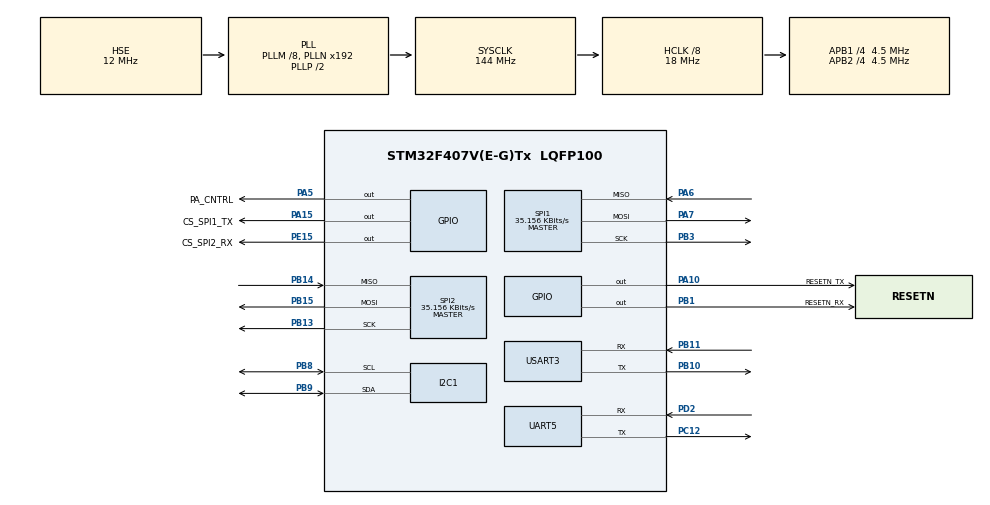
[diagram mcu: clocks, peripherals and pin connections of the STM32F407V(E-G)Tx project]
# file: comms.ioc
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Mcu.Family=STM32F4
Mcu.Name=STM32F407V(E-G)Tx
Mcu.Package=LQFP100
NVIC.PriorityGroup=NVIC_PRIORITYGROUP_4
PA10.GPIO_Label=RESETN_TX
PA10.PinState=GPIO_PIN_SET
PA10.Signal=GPIO_Output
PA15.GPIO_Label=CS_SPI1_TX
PA15.PinState=GPIO_PIN_SET
PA15.Signal=GPIO_Output
PA5.GPIO_Label=PA_CNTRL
PA5.Signal=GPIO_Output
PA6.GPIO_Speed=GPIO_SPEED_FREQ_LOW
PA6.Mode=Full_Duplex_Master
PA6.Signal=SPI1_MISO
PA7.GPIO_Speed=GPIO_SPEED_FREQ_LOW
PA7.Mode=Full_Duplex_Master
PA7.Signal=SPI1_MOSI
PB1.GPIO_Label=RESETN_RX
PB1.PinState=GPIO_PIN_SET
PB1.Signal=GPIO_Output
PB10.Mode=Asynchronous
PB10.Signal=USART3_TX
PB11.Mode=Asynchronous
PB11.Signal=USART3_RX
PB13.GPIO_Speed=GPIO_SPEED_FREQ_LOW
PB13.Mode=Full_Duplex_Master
PB13.Signal=SPI2_SCK
PB14.GPIO_Speed=GPIO_SPEED_FREQ_LOW
PB14.Mode=Full_Duplex_Master
PB14.Signal=SPI2_MISO
PB15.GPIO_Speed=GPIO_SPEED_FREQ_LOW
PB15.Mode=Full_Duplex_Master
PB15.Signal=SPI2_MOSI
PB3.GPIO_Speed=GPIO_SPEED_FREQ_LOW
PB3.Mode=Full_Duplex_Master
PB3.Signal=SPI1_SCK
PB8.Mode=I2C
PB8.Signal=I2C1_SCL
PB9.Mode=I2C
PB9.Signal=I2C1_SDA
PC12.Mode=Asynchronous
PC12.Signal=UART5_TX
PD2.Mode=Asynchronous
PD2.Signal=UART5_RX
PE15.GPIO_Label=CS_SPI2_RX
PE15.PinState=GPIO_PIN_SET
PE15.Signal=GPIO_Output
PH0-OSC_IN.Mode=HSE-External-Oscillator
PH0-OSC_IN.Signal=RCC_OSC_IN
PH1-OSC_OUT.Mode=HSE-External-Oscillator
PH1-OSC_OUT.Signal=RCC_OSC_OUT
ProjectManager.HeapSize=0x200
ProjectManager.StackSize=0x400
ProjectManager.TargetToolchain=EWARM
RCC.48MHZClocksFreq_Value=72000000
RCC.AHBCLKDivider=RCC_SYSCLK_DIV8
RCC.AHBFreq_Value=18000000
RCC.APB1CLKDivider=RCC_HCLK_DIV4
RCC.APB1Freq_Value=4500000
RCC.APB1TimFreq_Value=9000000
RCC.APB2CLKDivider=RCC_HCLK_DIV4
RCC.APB2Freq_Value=4500000
RCC.APB2TimFreq_Value=9000000
RCC.CortexFreq_Value=18000000
RCC.HCLKFreq_Value=18000000
RCC.HSE_VALUE=12000000
RCC.HSI_VALUE=16000000
RCC.LSE_VALUE=32768
RCC.PLLM=8
RCC.PLLSourceVirtual=RCC_PLLSOURCE_HSE
RCC.SYSCLKFreq_VALUE=144000000
RCC.SYSCLKSource=RCC_SYSCLKSOURCE_PLLCLK
RCC.VCOOutputFreq_Value=288000000
SPI1.BaudRatePrescaler=SPI_BAUDRATEPRESCALER_128
SPI1.CalculateBaudRate=35.156 KBits/s
SPI1.Mode=SPI_MODE_MASTER
SPI2.BaudRatePrescaler=SPI_BAUDRATEPRESCALER_128
SPI2.CalculateBaudRate=35.156 KBits/s
SPI2.Mode=SPI_MODE_MASTER
board=comms

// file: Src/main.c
/**
  ******************************************************************************
  * File Name          : main.c
  * Description        : Main program body
  ******************************************************************************
  *
  * COPYRIGHT(c) 2016 STMicroelectronics
  *
  * Redistribution and use in source and binary forms, with or without modification,
  * are permitted provided that the following conditions are met:
  *   1. Redistributions of source code must retain the above copyright notice,
  *      this list of conditions and the following disclaimer.
  *   2. Redistributions in binary form must reproduce the above copyright notice,
  *      this list of conditions and the following disclaimer in the documentation
  *      and/or other materials provided with the distribution.
  *   3. Neither the name of STMicroelectronics nor the names of its contributors
  *      may be used to endorse or promote products derived from this software
  *      without specific prior written permission.
  *
  * THIS SOFTWARE IS PROVIDED BY THE COPYRIGHT HOLDERS AND CONTRIBUTORS "AS IS"
  * AND ANY EXPRESS OR IMPLIED WARRANTIES, INCLUDING, BUT NOT LIMITED TO, THE
  * IMPLIED WARRANTIES OF MERCHANTABILITY AND FITNESS FOR A PARTICULAR PURPOSE ARE
  * DISCLAIMED. IN NO EVENT SHALL THE COPYRIGHT HOLDER OR CONTRIBUTORS BE LIABLE
  * FOR ANY DIRECT, INDIRECT, INCIDENTAL, SPECIAL, EXEMPLARY, OR CONSEQUENTIAL
  * DAMAGES (INCLUDING, BUT NOT LIMITED TO, PROCUREMENT OF SUBSTITUTE GOODS OR
  * SERVICES; LOSS OF USE, DATA, OR PROFITS; OR BUSINESS INTERRUPTION) HOWEVER
  * CAUSED AND ON ANY THEORY OF LIABILITY, WHETHER IN CONTRACT, STRICT LIABILITY,
  * OR TORT (INCLUDING NEGLIGENCE OR OTHERWISE) ARISING IN ANY WAY OUT OF THE USE
  * OF THIS SOFTWARE, EVEN IF ADVISED OF THE POSSIBILITY OF SUCH DAMAGE.
  *
  ******************************************************************************
  */
#include "stm32f4xx_hal.h"

/* USER CODE BEGIN Includes */
#include "../../../cc1120/cc_commands.h"
#include "../../../cc1120/cc_definitions.h"
#include "../../../cc1120/cc_Tx_init.h"
/* USER CODE END Includes */

I2C_HandleTypeDef hi2c1;

SPI_HandleTypeDef hspi1;
SPI_HandleTypeDef hspi2;

UART_HandleTypeDef huart5;
UART_HandleTypeDef huart3;

/* USER CODE BEGIN PV */
/* Private variables ---------------------------------------------------------*/
uint8_t aTxBuffer[500];
uint8_t aRxBuffer[500];

/* USER CODE END PV */

void SystemClock_Config(void);
static void MX_GPIO_Init(void);
static void MX_I2C1_Init(void);
static void MX_SPI1_Init(void);
static void MX_SPI2_Init(void);
static void MX_UART5_Init(void);
static void MX_USART3_UART_Init(void);

/* USER CODE BEGIN PFP */
/* Private function prototypes -----------------------------------------------*/
static uint8_t SPI2WriteSingledata(uint8_t swAdrr, uint8_t swData);
static uint8_t SPI2CommandStrobe(uint8_t CMDStrobe);
static void manualCalibration(void);
static uint8_t SPI2ReadExtended(uint8_t srExtndAdrr, uint8_t srData);

static uint8_t SPI1WriteSingledata(uint8_t swAdrr, uint8_t swData);
static uint8_t SPI1ReadSingle(uint8_t srAdrr);
static uint8_t SPI1ReadExtended(uint8_t srExtndAdrr, uint8_t srData);
static uint8_t SPI1CommandStrobe(uint8_t CMDStrobe);

static uint8_t SPI1WriteManydata(uint8_t *data, uint8_t size);

extern void cc_Tx_INIT();
/* USER CODE END PFP */

int main(void)
{

  /* MCU Configuration----------------------------------------------------------*/

  /* Reset of all peripherals, Initializes the Flash interface and the Systick. */
  HAL_Init();

  /* Configure the system clock */
  SystemClock_Config();

  /* Initialize all configured peripherals */
  MX_GPIO_Init();
  MX_I2C1_Init();
  MX_SPI1_Init();
  MX_SPI2_Init();
  MX_UART5_Init();
  MX_USART3_UART_Init();

  /* USER CODE BEGIN 2 */
  HAL_GPIO_WritePin(GPIOA, RESETN_TX_Pin, GPIO_PIN_SET);
  HAL_GPIO_WritePin(PA_CNTRL_GPIO_Port, PA_CNTRL_Pin, GPIO_PIN_SET);
  HAL_GPIO_WritePin(GPIOA,GPIO_PIN_15,GPIO_PIN_SET);

  SPI1ReadExtended(0x8F, 0x00);

  cc_Tx_INIT();

  HAL_Delay(100);

  manualCalibration();

  HAL_Delay(100);

  //SPI1WriteSingledata(0x7F, 0x48); //should expext 112 bytes (110 and 2) needs buffer

  aTxBuffer[0] = 0x7E;

  aTxBuffer[1] = 0x82;
  aTxBuffer[2] = 0x84;
  aTxBuffer[3] = 0x86;
  aTxBuffer[4] = 0x88;
  aTxBuffer[5] = 0x40;
  aTxBuffer[6] = 0x40;
  aTxBuffer[7] = 0x60;
  aTxBuffer[8] = 0x82;
  aTxBuffer[9] = 0x84;
  aTxBuffer[10] = 0x86;
  aTxBuffer[11] = 0x88;
  aTxBuffer[12] = 0x40;
  aTxBuffer[13] = 0x40;
  aTxBuffer[14] = 0x61;
  aTxBuffer[15] = 0x03;
  aTxBuffer[16] = 0xf0;
  aTxBuffer[17] = 0x48;
  aTxBuffer[18] = 0x45;
  aTxBuffer[19] = 0x4c;
  aTxBuffer[20] = 0x4c;
  aTxBuffer[21] = 0x4f;
  aTxBuffer[22] = 0x20;
  aTxBuffer[23] = 0x57;
  aTxBuffer[24] = 0x4f;
  aTxBuffer[25] = 0x52;
  aTxBuffer[26] = 0x4c;
  aTxBuffer[27] = 0x44;
  aTxBuffer[28] = 0x20;
  aTxBuffer[29] = 0x46;
  aTxBuffer[30] = 0x52;
  aTxBuffer[31] = 0x4f;
  aTxBuffer[32] = 0x4d;
  aTxBuffer[33] = 0x20;
  aTxBuffer[34] = 0x53;
  aTxBuffer[35] = 0x50;
  aTxBuffer[36] = 0x41;
  aTxBuffer[37] = 0x43;
  aTxBuffer[38] = 0x45;

  //for(uint8_t i = 1; i < 120; i++) { aTxBuffer[i] = 0x48; }
  SPI1WriteManydata(aTxBuffer, 39);

  SPI1CommandStrobe(STX);   	   //transmit command

  SPI1CommandStrobe(SRES);         //reset devise. After reset device should be in IDLE

  SPI1CommandStrobe(SFTX);	   //flash Tx fifo. SFTX when in IDLE

  /* USER CODE END 2 */

  /* Infinite loop */
  while (1)
  {

  /* USER CODE BEGIN 3 */
     cc_Tx_INIT();

  HAL_Delay(100);

  manualCalibration();

  HAL_Delay(100);

  aTxBuffer[0] = 0x7E;

  aTxBuffer[1] = 0x82;
  aTxBuffer[2] = 0x84;
  aTxBuffer[3] = 0x86;
  aTxBuffer[4] = 0x88;
  aTxBuffer[5] = 0x40;
  aTxBuffer[6] = 0x40;
  aTxBuffer[7] = 0x60;
  aTxBuffer[8] = 0x82;
  aTxBuffer[9] = 0x84;
  aTxBuffer[10] = 0x86;
  aTxBuffer[11] = 0x88;
  aTxBuffer[12] = 0x40;
  aTxBuffer[13] = 0x40;
  aTxBuffer[14] = 0x61;
  aTxBuffer[15] = 0x03;
  aTxBuffer[16] = 0xf0;
  aTxBuffer[17] = 0x48;
  aTxBuffer[18] = 0x45;
  aTxBuffer[19] = 0x4c;
  aTxBuffer[20] = 0x4c;
  aTxBuffer[21] = 0x4f;
  aTxBuffer[22] = 0x20;
  aTxBuffer[23] = 0x57;
  aTxBuffer[24] = 0x4f;
  aTxBuffer[25] = 0x52;
  aTxBuffer[26] = 0x4c;
  aTxBuffer[27] = 0x44;
  aTxBuffer[28] = 0x20;
  aTxBuffer[29] = 0x46;
  aTxBuffer[30] = 0x52;
  aTxBuffer[31] = 0x4f;
  aTxBuffer[32] = 0x4d;
  aTxBuffer[33] = 0x20;
  aTxBuffer[34] = 0x53;
  aTxBuffer[35] = 0x50;
  aTxBuffer[36] = 0x41;
  aTxBuffer[37] = 0x43;
  aTxBuffer[38] = 0x45;

      SPI1WriteManydata(aTxBuffer, 39);

      SPI1CommandStrobe(STX);   	   //transmit command

      SPI1CommandStrobe(SRES);         //reset devise. After reset device should be in IDLE

      SPI1CommandStrobe(SFTX);	   //flash Tx fifo. SFTX when in IDLE

      HAL_Delay(5000);
  }
  /* USER CODE END 3 */

}

/** System Clock Configuration
*/
void SystemClock_Config(void)
{

  RCC_OscInitTypeDef RCC_OscInitStruct;
  RCC_ClkInitTypeDef RCC_ClkInitStruct;

  __HAL_RCC_PWR_CLK_ENABLE();

  __HAL_PWR_VOLTAGESCALING_CONFIG(PWR_REGULATOR_VOLTAGE_SCALE1);

  RCC_OscInitStruct.OscillatorType = RCC_OSCILLATORTYPE_HSE;
  RCC_OscInitStruct.HSEState = RCC_HSE_ON;
  RCC_OscInitStruct.PLL.PLLState = RCC_PLL_ON;
  RCC_OscInitStruct.PLL.PLLSource = RCC_PLLSOURCE_HSE;
  RCC_OscInitStruct.PLL.PLLM = 8;
  RCC_OscInitStruct.PLL.PLLN = 192;
  RCC_OscInitStruct.PLL.PLLP = RCC_PLLP_DIV2;
  RCC_OscInitStruct.PLL.PLLQ = 4;
  HAL_RCC_OscConfig(&RCC_OscInitStruct);

  RCC_ClkInitStruct.ClockType = RCC_CLOCKTYPE_HCLK|RCC_CLOCKTYPE_SYSCLK
                              |RCC_CLOCKTYPE_PCLK1|RCC_CLOCKTYPE_PCLK2;
  RCC_ClkInitStruct.SYSCLKSource = RCC_SYSCLKSOURCE_PLLCLK;
  RCC_ClkInitStruct.AHBCLKDivider = RCC_SYSCLK_DIV8;
  RCC_ClkInitStruct.APB1CLKDivider = RCC_HCLK_DIV4;
  RCC_ClkInitStruct.APB2CLKDivider = RCC_HCLK_DIV4;
  HAL_RCC_ClockConfig(&RCC_ClkInitStruct, FLASH_LATENCY_0);

  HAL_SYSTICK_Config(HAL_RCC_GetHCLKFreq()/1000);

  HAL_SYSTICK_CLKSourceConfig(SYSTICK_CLKSOURCE_HCLK);

  /* SysTick_IRQn interrupt configuration */
  HAL_NVIC_SetPriority(SysTick_IRQn, 0, 0);
}

/* I2C1 init function */
void MX_I2C1_Init(void)
{

  hi2c1.Instance = I2C1;
  hi2c1.Init.ClockSpeed = 100000;
  hi2c1.Init.DutyCycle = I2C_DUTYCYCLE_2;
  hi2c1.Init.OwnAddress1 = 0;
  hi2c1.Init.AddressingMode = I2C_ADDRESSINGMODE_7BIT;
  hi2c1.Init.DualAddressMode = I2C_DUALADDRESS_DISABLE;
  hi2c1.Init.OwnAddress2 = 0;
  hi2c1.Init.GeneralCallMode = I2C_GENERALCALL_DISABLE;
  hi2c1.Init.NoStretchMode = I2C_NOSTRETCH_DISABLE;
  HAL_I2C_Init(&hi2c1);

}

/* SPI1 init function */
void MX_SPI1_Init(void)
{

  hspi1.Instance = SPI1;
  hspi1.Init.Mode = SPI_MODE_MASTER;
  hspi1.Init.Direction = SPI_DIRECTION_2LINES;
  hspi1.Init.DataSize = SPI_DATASIZE_8BIT;
  hspi1.Init.CLKPolarity = SPI_POLARITY_LOW;
  hspi1.Init.CLKPhase = SPI_PHASE_1EDGE;
  hspi1.Init.NSS = SPI_NSS_SOFT;
  hspi1.Init.BaudRatePrescaler = SPI_BAUDRATEPRESCALER_128;
  hspi1.Init.FirstBit = SPI_FIRSTBIT_MSB;
  hspi1.Init.TIMode = SPI_TIMODE_DISABLE;
  hspi1.Init.CRCCalculation = SPI_CRCCALCULATION_DISABLE;
  hspi1.Init.CRCPolynomial = 10;
  HAL_SPI_Init(&hspi1);

}

/* SPI2 init function */
void MX_SPI2_Init(void)
{

  hspi2.Instance = SPI2;
  hspi2.Init.Mode = SPI_MODE_MASTER;
  hspi2.Init.Direction = SPI_DIRECTION_2LINES;
  hspi2.Init.DataSize = SPI_DATASIZE_8BIT;
  hspi2.Init.CLKPolarity = SPI_POLARITY_LOW;
  hspi2.Init.CLKPhase = SPI_PHASE_1EDGE;
  hspi2.Init.NSS = SPI_NSS_SOFT;
  hspi2.Init.BaudRatePrescaler = SPI_BAUDRATEPRESCALER_128;
  hspi2.Init.FirstBit = SPI_FIRSTBIT_MSB;
  hspi2.Init.TIMode = SPI_TIMODE_DISABLE;
  hspi2.Init.CRCCalculation = SPI_CRCCALCULATION_DISABLE;
  hspi2.Init.CRCPolynomial = 10;
  HAL_SPI_Init(&hspi2);

}

/* UART5 init function */
void MX_UART5_Init(void)
{

  huart5.Instance = UART5;
  huart5.Init.BaudRate = 115200;
  huart5.Init.WordLength = UART_WORDLENGTH_8B;
  huart5.Init.StopBits = UART_STOPBITS_1;
  huart5.Init.Parity = UART_PARITY_NONE;
  huart5.Init.Mode = UART_MODE_TX_RX;
  huart5.Init.HwFlowCtl = UART_HWCONTROL_NONE;
  huart5.Init.OverSampling = UART_OVERSAMPLING_16;
  HAL_UART_Init(&huart5);

}

/* USART3 init function */
void MX_USART3_UART_Init(void)
{

  huart3.Instance = USART3;
  huart3.Init.BaudRate = 115200;
  huart3.Init.WordLength = UART_WORDLENGTH_8B;
  huart3.Init.StopBits = UART_STOPBITS_1;
  huart3.Init.Parity = UART_PARITY_NONE;
  huart3.Init.Mode = UART_MODE_TX_RX;
  huart3.Init.HwFlowCtl = UART_HWCONTROL_NONE;
  huart3.Init.OverSampling = UART_OVERSAMPLING_16;
  HAL_UART_Init(&huart3);

}

/** Configure pins as
        * Analog
        * Input
        * Output
        * EVENT_OUT
        * EXTI
*/
void MX_GPIO_Init(void)
{

  GPIO_InitTypeDef GPIO_InitStruct;

  /* GPIO Ports Clock Enable */
  __HAL_RCC_GPIOH_CLK_ENABLE();
  __HAL_RCC_GPIOA_CLK_ENABLE();
  __HAL_RCC_GPIOB_CLK_ENABLE();
  __HAL_RCC_GPIOE_CLK_ENABLE();
  __HAL_RCC_GPIOC_CLK_ENABLE();
  __HAL_RCC_GPIOD_CLK_ENABLE();

  /*Configure GPIO pin Output Level */
  HAL_GPIO_WritePin(PA_CNTRL_GPIO_Port, PA_CNTRL_Pin, GPIO_PIN_RESET);

  /*Configure GPIO pin Output Level */
  HAL_GPIO_WritePin(RESETN_RX_GPIO_Port, RESETN_RX_Pin, GPIO_PIN_SET);

  /*Configure GPIO pin Output Level */
  HAL_GPIO_WritePin(CS_SPI2_RX_GPIO_Port, CS_SPI2_RX_Pin, GPIO_PIN_SET);

  /*Configure GPIO pin Output Level */
  HAL_GPIO_WritePin(GPIOA, RESETN_TX_Pin|CS_SPI1_TX_Pin, GPIO_PIN_SET);

  /*Configure GPIO pins : PA_CNTRL_Pin RESETN_TX_Pin CS_SPI1_TX_Pin */
  GPIO_InitStruct.Pin = PA_CNTRL_Pin|RESETN_TX_Pin|CS_SPI1_TX_Pin;
  GPIO_InitStruct.Mode = GPIO_MODE_OUTPUT_PP;
  GPIO_InitStruct.Pull = GPIO_NOPULL;
  GPIO_InitStruct.Speed = GPIO_SPEED_FREQ_LOW;
  HAL_GPIO_Init(GPIOA, &GPIO_InitStruct);

  /*Configure GPIO pin : RESETN_RX_Pin */
  GPIO_InitStruct.Pin = RESETN_RX_Pin;
  GPIO_InitStruct.Mode = GPIO_MODE_OUTPUT_PP;
  GPIO_InitStruct.Pull = GPIO_NOPULL;
  GPIO_InitStruct.Speed = GPIO_SPEED_FREQ_LOW;
  HAL_GPIO_Init(RESETN_RX_GPIO_Port, &GPIO_InitStruct);

  /*Configure GPIO pin : CS_SPI2_RX_Pin */
  GPIO_InitStruct.Pin = CS_SPI2_RX_Pin;
  GPIO_InitStruct.Mode = GPIO_MODE_OUTPUT_PP;
  GPIO_InitStruct.Pull = GPIO_NOPULL;
  GPIO_InitStruct.Speed = GPIO_SPEED_FREQ_LOW;
  HAL_GPIO_Init(CS_SPI2_RX_GPIO_Port, &GPIO_InitStruct);

}

/* USER CODE BEGIN 4 */
static void manualCalibration(void) {

uint8_t orgnlfscal2;

uint8_t Resultsvcdac_strtH0=0X00;
uint8_t Resultsvcdac_strtH1=0X00;
uint8_t Resultsvcdac_strtH2=0X00;

uint8_t Resultsvcdac_strtM0=0X00;
uint8_t Resultsvcdac_strtM1=0X00;
uint8_t Resultsvcdac_strtM2=0X00;

uint8_t writeByte3;

/*1) Set VCO cap-array to 0 (FS_VCO2 = 0x00)*/
writeByte3 = 0x00;

halRfWriteReg(FS_VCO2,writeByte3);

/*
2) Start with high VCDAC (original VCDAC_START + 2): IT IS A READ OP*/

orgnlfscal2 = SPI1ReadExtended((uint8_t)(0x00FF & FS_CAL2), 0x00);

writeByte3 = orgnlfscal2 + 0x02;

halRfWriteReg(FS_CAL2,writeByte3);

/*3) Calibrate and wait for calibration to be done
	         (radio back in IDLE state)*/

SPI1CommandStrobe(SCAL);
//delay10ms(1);
HAL_Delay(1);
/*do {
	marcstate=SPI2ReadExtended(CC112X_MARCSTATE, 0x00);

} while (marcstate != 0x41);*/

/* 4) Read FS_VCO2, FS_VCO4 and FS_CHP register obtained with
  	   	   	   	   high VCDAC_START value
*/

Resultsvcdac_strtH0=	SPI1ReadExtended((uint8_t)(0x00FF & FS_CAL2), 0x00);
Resultsvcdac_strtH1=	SPI1ReadExtended((uint8_t)(0x00FF & FS_VCO4), 0x00);
Resultsvcdac_strtH2=	SPI1ReadExtended((uint8_t)(0x00FF & FS_CHP), 0x00);
/* 5) Set VCO cap-array to 0 (FS_VCO2 = 0x00)*/

writeByte3 = 0x00;

halRfWriteReg(FS_VCO2,writeByte3);

/*6) Set VCO cap-array to 0 (FS_VCO2 = 0x00)*/

writeByte3 = orgnlfscal2;

halRfWriteReg(FS_CAL2,writeByte3);

/*  7) Calibrate and wait for calibration to be done
(radio back in IDLE state)*/

SPI1CommandStrobe(SCAL);
//delay10ms(1);
HAL_Delay(1);
/*do {
	marcstate=SPI2ReadExtended(CC112X_MARCSTATE, 0x00);

} while (marcstate != 0x41);*/

/*8) Read FS_VCO2, FS_VCO4 and FS_CHP register obtained
       with mid VCDAC_START value*/

Resultsvcdac_strtM0=	SPI1ReadExtended((uint8_t)(0x00FF & FS_CAL2), 0x00);
Resultsvcdac_strtM1=	SPI1ReadExtended((uint8_t)(0x00FF & FS_VCO4), 0x00);
Resultsvcdac_strtM2=	SPI1ReadExtended((uint8_t)(0x00FF & FS_CHP), 0x00);

/*9) Write back highest FS_VCO2 and corresponding FS_VCO
and FS_CHP result*/

if (Resultsvcdac_strtH0 >
Resultsvcdac_strtM0) {

	writeByte3 = Resultsvcdac_strtH0;
    halRfWriteReg(FS_VCO2,writeByte3);
    writeByte3 = Resultsvcdac_strtH1;
    halRfWriteReg(FS_VCO4,writeByte3);
    writeByte3 = Resultsvcdac_strtH2;
    halRfWriteReg(FS_CHP,writeByte3);
} else {
	writeByte3 = Resultsvcdac_strtM0;
	halRfWriteReg(FS_VCO2,writeByte3);
	writeByte3 = Resultsvcdac_strtM1;
	halRfWriteReg(FS_VCO4,writeByte3);
	writeByte3 = Resultsvcdac_strtM2;
	halRfWriteReg(FS_CHP,writeByte3);
}

}

static uint8_t SPI1CommandStrobe(uint8_t CMDStrobe)
{

//uint8_t aTxBuffer[1];
//uint8_t aRxBuffer[1];

aTxBuffer[0]= CMDStrobe;    		//		extended address
//      send dummy so that i can read data
aTxBuffer[1]=0x00;
aTxBuffer[2]=0x00;
aTxBuffer[3]=0x00;

aRxBuffer[0]=0x00;
aRxBuffer[1]=0x00;
aRxBuffer[2]=0x00;
aRxBuffer[3]=0x00;      //      one more for slot for contingency

//      one more for slot for contingency

HAL_GPIO_WritePin(GPIOA,GPIO_PIN_15,GPIO_PIN_RESET);  	//chip select LOw
//delay10ms (15);
HAL_Delay(1);
HAL_SPI_TransmitReceive(&hspi1, (uint8_t*)aTxBuffer, (uint8_t *)aRxBuffer, 1, 5000); //send and receive 1 bytes
//delay10ms (15);
HAL_GPIO_WritePin(GPIOA,GPIO_PIN_15,GPIO_PIN_SET);

//delay10ms (50);

return aRxBuffer[0];   //if need be please change this part to return the whole buffer

}

static uint8_t SPI1ReadExtended(uint8_t srExtndAdrr, uint8_t srData)
{

	//uint8_t aTxBuffer[3];
	//uint8_t aRxBuffer[4];

aTxBuffer[0]=0xaf;
aTxBuffer[1]=srExtndAdrr;    		//		extended address
aTxBuffer[2]=srData;         //      send dummy so that i can read data

aRxBuffer[0]=0x00;
aRxBuffer[1]=0x00;
aRxBuffer[2]=0x00;
aRxBuffer[3]=0x00;      //      one more for slot for contingency

HAL_GPIO_WritePin(GPIOA,GPIO_PIN_15,GPIO_PIN_RESET);  	//chip select LOw
//delay10ms (1);
HAL_Delay(1);
HAL_SPI_TransmitReceive(&hspi1, (uint8_t*)aTxBuffer, (uint8_t *)aRxBuffer, 3, 10); //send and receive 3 bytes
//delay10ms (1);
HAL_GPIO_WritePin(GPIOA,GPIO_PIN_15,GPIO_PIN_SET);

return aRxBuffer[2];  //if need be please change this part to return the whole buffer

}

static uint8_t SPI1ReadSingle(uint8_t srAdrr)
{
srAdrr= srAdrr+ 0x80;

//uint8_t aTxBuffer[2];
//uint8_t aRxBuffer[3];

aTxBuffer[0]=srAdrr;    		//		extended address
aTxBuffer[1]=0x00;         //      send dummy so that i can read data

aRxBuffer[0]=0x00;
aRxBuffer[1]=0x00;
aRxBuffer[2]=0x00;
//      one more for slot for contingency

HAL_GPIO_WritePin(GPIOA,GPIO_PIN_15,GPIO_PIN_RESET);  	//chip select LOw
//delay10ms (15);
HAL_Delay(1);
HAL_SPI_TransmitReceive(&hspi1, (uint8_t*)aTxBuffer, (uint8_t *)aRxBuffer, 2, 5000); //send and receive 3 bytes
//delay10ms (15);
HAL_Delay(1);
HAL_GPIO_WritePin(GPIOA,GPIO_PIN_15,GPIO_PIN_SET);

//delay10ms (50);

return aRxBuffer[1];   //if need be please change this part to return the whole buffer

}

static uint8_t SPI1WriteManydata(uint8_t *data, uint8_t size)
{

HAL_GPIO_WritePin(GPIOA,GPIO_PIN_15,GPIO_PIN_SET); 	//chip select LOw
//delay10ms (15);
HAL_Delay(1);
HAL_SPI_TransmitReceive(&hspi1, (uint8_t*)data, (uint8_t *)aRxBuffer, size, 5000); //send and receive 3 bytes
//delay10ms (15);
HAL_Delay(1);
HAL_GPIO_WritePin(GPIOA,GPIO_PIN_15,GPIO_PIN_SET);

//delay10ms (50);

return aRxBuffer[1];   //if need be please change this part to return the whole buffer

}

static uint8_t SPI1WriteSingledata(uint8_t swAdrr, uint8_t swData)
{

//uint8_t aTxBuffer[2];
//uint8_t aRxBuffer[3];

aTxBuffer[0]=swAdrr;    		//		extended address
aTxBuffer[1]=swData;         //      send dummy so that i can read data

aRxBuffer[0]=0x00;
aRxBuffer[1]=0x00;
aRxBuffer[2]=0x00;
//      one more for slot for contingency

//ME KANE DUO BUFFER ME KATUSTERHSH

HAL_GPIO_WritePin(GPIOA,GPIO_PIN_15,GPIO_PIN_SET); 	//chip select LOw
//delay10ms (15);
HAL_Delay(1);
HAL_SPI_TransmitReceive(&hspi1, (uint8_t*)aTxBuffer, (uint8_t *)aRxBuffer, 2, 5000); //send and receive 3 bytes
//delay10ms (15);
HAL_Delay(1);
HAL_GPIO_WritePin(GPIOA,GPIO_PIN_15,GPIO_PIN_SET);

//delay10ms (50);

return aRxBuffer[1];   //if need be please change this part to return the whole buffer

}

/* USER CODE END 4 */

/************************ (C) COPYRIGHT STMicroelectronics *****END OF FILE****/
